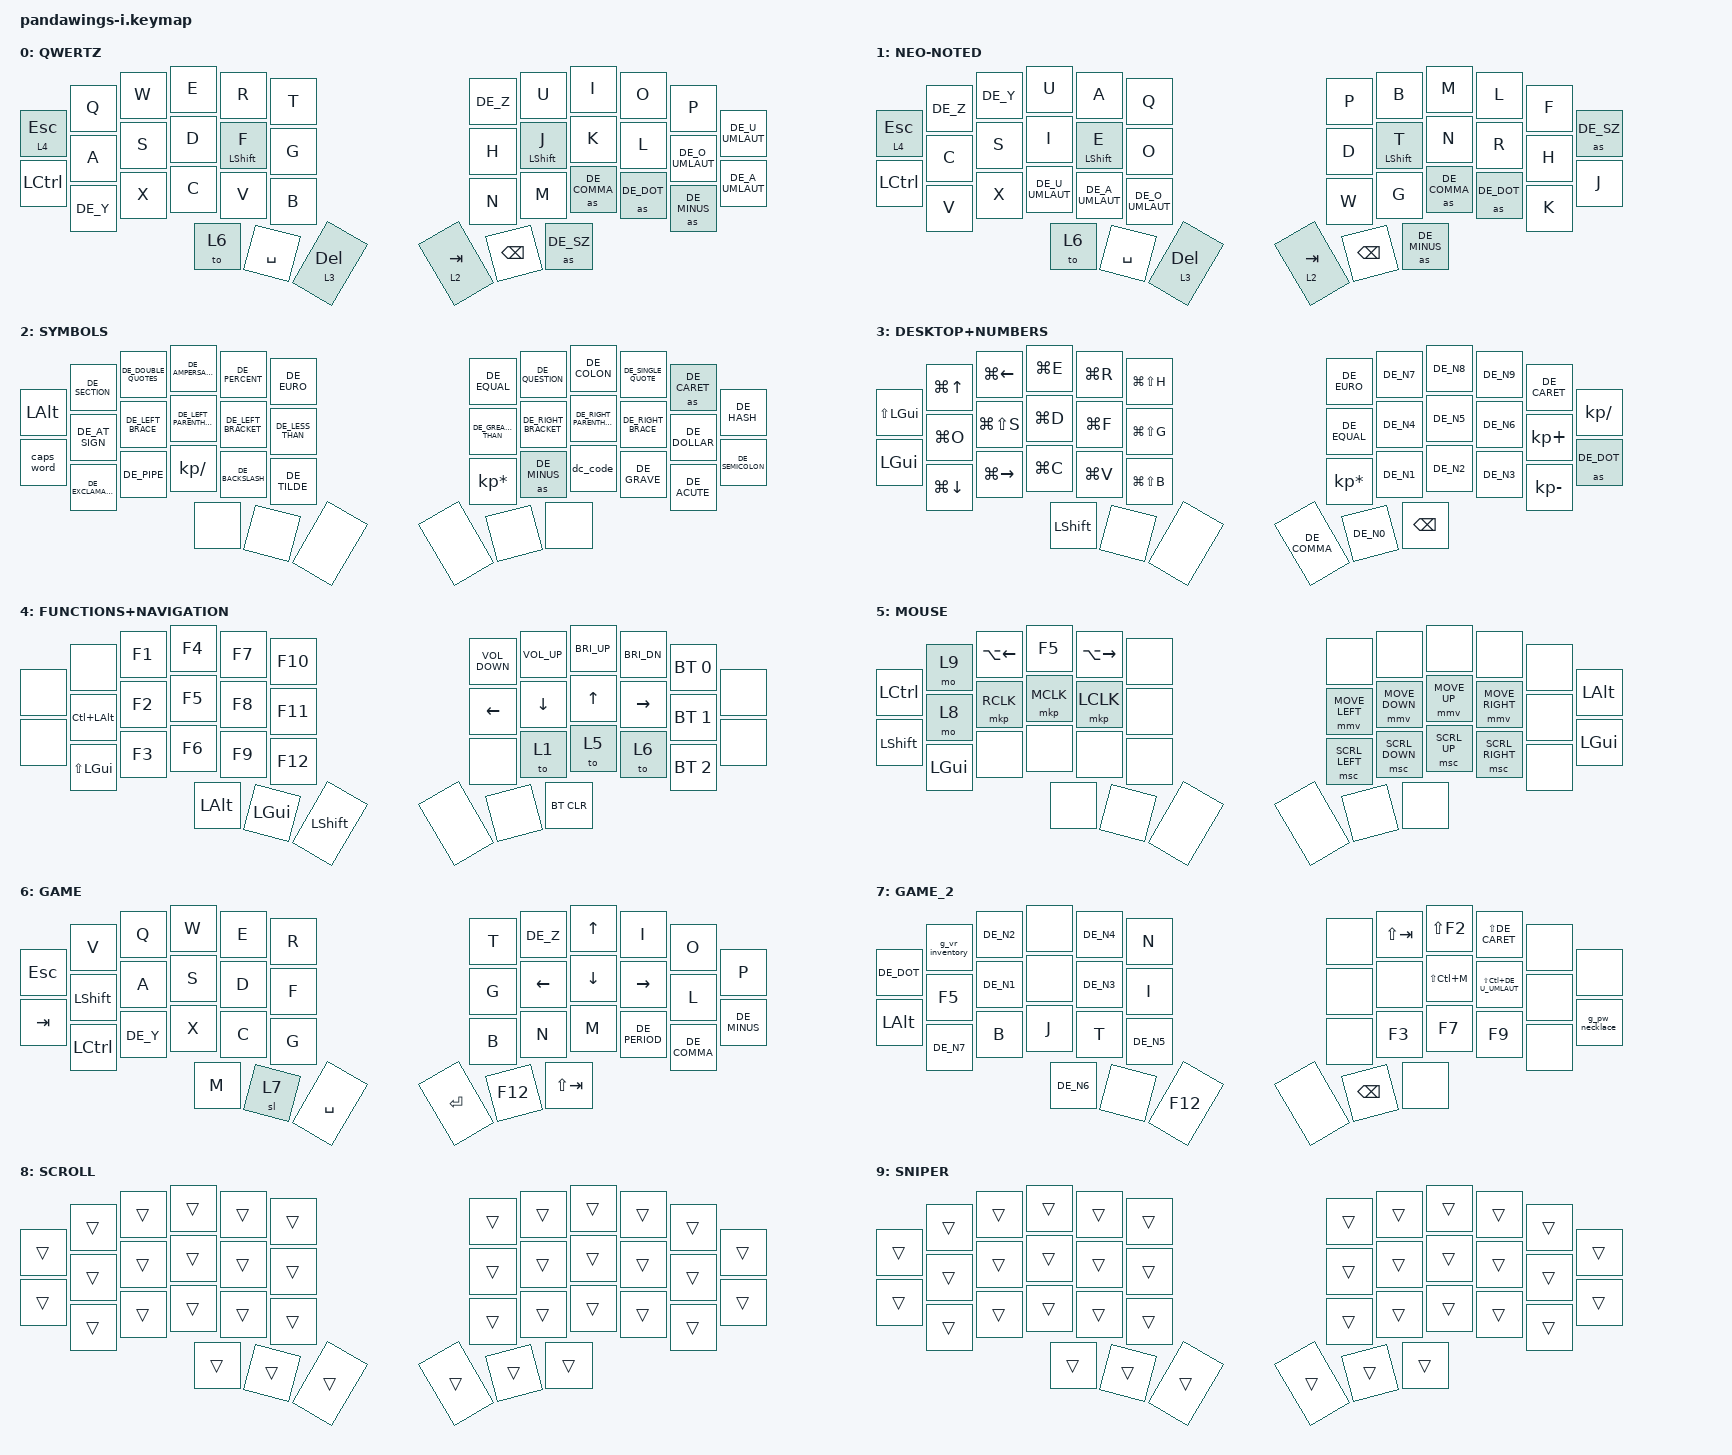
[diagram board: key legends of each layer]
#include <behaviors.dtsi>
#include <dt-bindings/zmk/bt.h>
#include <dt-bindings/zmk/keys.h>
#include <dt-bindings/zmk/pointing.h>
#include <locale/keys_de.h>

// https://github.com/urob/zmk-config#timeless-homerow-mods

#define PRIOR_IDLE 100   // 125
#define QUICK_TAP_MS 175 // 200
#define TAPPING_TERM 200 // 225
#define HRM_TAP_TERM 275

&caps_word { continue-list = <DELETE DEL BACKSPACE MINUS KP_MINUS SLASH QUESTION SEMICOLON LEFT_BRACKET RIGHT_BRACKET LEFT_BRACE RIGHT_BRACE SINGLE_QUOTE DE_A_UMLAUT DE_O_UMLAUT DE_U_UMLAUT>; };

// &lt &mt from https://github.com/urob/zmk-config/blob/main/config/base.keymap
// hold-preferred, balanced, tap-preferred, tap-unless-interrupted

&lt { flavor = "hold-preferred"; };

&sk {
    quick-release;
    lazy;
};

/ {
    behaviors {
        ht_as: autoshift_hold_tap {
            compatible = "zmk,behavior-hold-tap";
            #binding-cells = <2>;
            tapping-term-ms = <QUICK_TAP_MS>;
            bindings = <&shifted>, <&kp>;
        };

        hm: homerow_mods {
            compatible = "zmk,behavior-hold-tap";
            #binding-cells = <2>;
            flavor = "tap-unless-interrupted";
            tapping-term-ms = <300>;
            quick-tap-ms = <200>;
            bindings = <&kp>, <&kp>;

            require-prior-idle-ms = <50>;
        };
    };

    combos {
        compatible = "zmk,combos";

        to_base_layer {
            bindings = <&to 0>;
            key-positions = <35 36>;
        };

        select_all {
            bindings = <&kp LC(A)>;
            key-positions = <23 24>;
            layers = <0 1>;
        };

        copy {
            bindings = <&kp LC(C)>;
            key-positions = <24 25>;
            layers = <0 1>;
        };

        paste {
            bindings = <&kp LC(V)>;
            key-positions = <25 26>;
            layers = <0 1>;
        };

        cut {
            bindings = <&kp LC(X)>;
            key-positions = <26 27>;
            layers = <0 1>;
        };

        line_start {
            bindings = <&kp HOME>;
            key-positions = <12 13 14>;
            layers = <0 1>;
        };

        line_end {
            bindings = <&kp END>;
            key-positions = <17 18 19>;
            layers = <0 1>;
        };

        return {
            bindings = <&kp RETURN>;
            key-positions = <36 37>;
            layers = <0 1>;
        };

        shift_return {
            bindings = <&kp LS(RETURN)>;
            key-positions = <10 22>;
            layers = <0 1>;
        };

        vim_save {
            bindings = <&vimsave>;
            key-positions = <30 31>;
            layers = <0 1>;
        };

        vim_quit {
            bindings = <&vimquit>;
            key-positions = <28 29>;
            layers = <0 1>;
        };

        controller_reset {
            bindings = <&bootloader>;
            key-positions = <0 1 2 3>;
            layers = <0 1>;
        };

        arrow_up {
            bindings = <&kp UP_ARROW>;
            key-positions = <29 30>;
            layers = <0 1>;
        };

        arrow_down {
            bindings = <&kp DOWN_ARROW>;
            key-positions = <31 32>;
            layers = <0 1>;
        };
    };

    macros {
        g_vr_inventory: g_vr_inventory {
            compatible = "zmk,behavior-macro";
            #binding-cells = <0>;
            wait-ms = <50>;
            tap-ms = <50>;
            bindings =
                <&kp R &mkp RCLK &kp E &kp R &mkp RCLK &kp E &kp R &mkp RCLK &kp E &kp R &mkp RCLK &kp E &kp R &mkp RCLK &kp E &kp R &mkp RCLK &kp E &kp R &mkp RCLK &kp E &kp R &mkp RCLK &kp E &kp R &mkp RCLK &kp E &kp R &mkp RCLK &kp E>;
        };

        g_pw_necklace: g_pw_necklace {
            compatible = "zmk,behavior-macro";
            #binding-cells = <0>;
            wait-ms = <250>;
            tap-ms = <100>;
            bindings =
                <&kp DE_N3 &kp E &kp DE_N3 &kp E &kp DE_N3 &kp E &kp DE_N3 &kp E &kp DE_N3 &kp E &kp DE_N3 &kp E &kp D &kp W>;
        };

        shifted: macro_shifted_kp {
            #binding-cells = <1>;
            compatible = "zmk,behavior-macro-one-param";
            bindings =
                <&macro_press>,
                <&kp LSHFT &macro_param_1to1>,
                <&macro_tap>,
                <&kp MACRO_PLACEHOLDER>,
                <&macro_release>,
                <&kp LEFT_SHIFT>;
        };

        as: autoshift {
            compatible = "zmk,behavior-macro-one-param";
            #binding-cells = <1>;
            bindings =
                <&macro_press>,
                <&macro_param_1to1 &macro_param_1to2 &ht_as MACRO_PLACEHOLDER MACRO_PLACEHOLDER>,
                <&macro_pause_for_release>,
                <&macro_release>,
                <&macro_param_1to1 &macro_param_1to2 &ht_as MACRO_PLACEHOLDER MACRO_PLACEHOLDER>;
        };

        dc_code: discord_codesegment {
            compatible = "zmk,behavior-macro";
            #binding-cells = <0>;
            bindings = <&kp DE_GRAVE &kp DE_GRAVE>;
        };

        vimsave: vimsave {
            compatible = "zmk,behavior-macro";
            #binding-cells = <0>;
            bindings = <&kp DE_COLON &kp W &kp A &kp RETURN>;
        };

        vimquit: vimquit {
            compatible = "zmk,behavior-macro";
            #binding-cells = <0>;
            bindings = <&kp DE_COLON &kp Q &kp A &kp RETURN>;
        };
    };

    keymap {
        compatible = "zmk,keymap";

//                    | SW2  | SW3  | SW4  | SW5  | SW6  |  | SW27 | SW26 | SW25 | SW24 | SW23 | 
//             | SW7  | SW8  | SW9  | SW10 | SW11 | SW12 |  | SW33 | SW32 | SW31 | SW30 | SW29 | SW34 |
//             | SW13 | SW14 | SW15 | SW16 | SW17 | SW18 |  | SW39 | SW38 | SW37 | SW36 | SW35 | SW28 |
//                                  | SW19 | SW20 | SW21 |  | SW42 | SW41 | SW40 |

        QWERTZ {

            bindings = <
//                   ┌──────┬───┬───┬────────────┬─────┐                         ┌──────┬────────────┬──────────┬──────────┬───────────────┐
//                   │  Q   │ W │ E │     R      │  T  │                         │ DE_Z │     U      │    I     │    O     │       P       │
//    ┌──────────────┼──────┼───┼───┼────────────┼─────┤                         ├──────┼────────────┼──────────┼──────────┼───────────────┼───────────────┐
//    │   lt 4 esc   │  A   │ S │ D │ &hm lsft F │  G  │                         │  H   │ &hm lsft J │    K     │    L     │ DE_O_UMlaltUT │ DE_U_UMlaltUT │
//    ├──────────────┼──────┼───┼───┼────────────┼─────┤                         ├──────┼────────────┼──────────┼──────────┼───────────────┼───────────────┤
//    │ left_CONTROL │ DE_Y │ X │ C │     V      │  B  │                         │  N   │     M      │ &as DE_, │ &as DE_. │   &as DE_-    │ DE_A_UMlaltUT │
//    └──────────────┴──────┴───┴───┼────────────┼─────┼──────────┐   ┌──────────┼──────┼────────────┼──────────┴──────────┴───────────────┴───────────────┘
//                                  │    to 6    │ spc │ lt 3 del │   │ lt 2 tab │ bspc │ &as DE_SZ  │
//                                  └────────────┴─────┴──────────┘   └──────────┴──────┴────────────┘
                     &kp Q      &kp W   &kp E   &kp R              &kp T                                      &kp DE_Z        &kp U              &kp I          &kp O        &kp P
  &lt 4 ESCAPE       &kp A      &kp S   &kp D   &hm LEFT_SHIFT F   &kp G                                      &kp H           &hm LEFT_SHIFT J   &kp K          &kp L        &kp DE_O_UMLAUT   &kp DE_U_UMLAUT
  &kp LEFT_CONTROL   &kp DE_Y   &kp X   &kp C   &kp V              &kp B                                      &kp N           &kp M              &as DE_COMMA   &as DE_DOT   &as DE_MINUS      &kp DE_A_UMLAUT
                                                &to 6              &kp SPACE   &lt 3 DELETE       &lt 2 TAB   &kp BACKSPACE   &as DE_SZ
            >;
        };

        NEO-NOTED {
            bindings = <
//                   ┌──────┬──────┬───────────────┬───────────────┬───────────────┐                         ┌──────┬────────────┬──────────┬──────────┬───┐
//                   │ DE_Z │ DE_Y │       U       │       A       │       Q       │                         │  P   │     B      │    M     │    L     │ F │
//    ┌──────────────┼──────┼──────┼───────────────┼───────────────┼───────────────┤                         ├──────┼────────────┼──────────┼──────────┼───┼───────────┐
//    │   lt 4 esc   │  C   │  S   │       I       │  &hm lsft E   │       O       │                         │  D   │ &hm lsft T │    N     │    R     │ H │ &as DE_SZ │
//    ├──────────────┼──────┼──────┼───────────────┼───────────────┼───────────────┤                         ├──────┼────────────┼──────────┼──────────┼───┼───────────┤
//    │ left_CONTROL │  V   │  X   │ DE_U_UMlaltUT │ DE_A_UMlaltUT │ DE_O_UMlaltUT │                         │  W   │     G      │ &as DE_, │ &as DE_. │ K │     J     │
//    └──────────────┴──────┴──────┴───────────────┼───────────────┼───────────────┼──────────┐   ┌──────────┼──────┼────────────┼──────────┴──────────┴───┴───────────┘
//                                                 │     to 6      │      spc      │ lt 3 del │   │ lt 2 tab │ bspc │  &as DE_-  │
//                                                 └───────────────┴───────────────┴──────────┘   └──────────┴──────┴────────────┘
                     &kp DE_Z   &kp DE_Y   &kp U             &kp A              &kp Q                                            &kp P           &kp B              &kp M          &kp L        &kp F
  &lt 4 ESCAPE       &kp C      &kp S      &kp I             &hm LEFT_SHIFT E   &kp O                                            &kp D           &hm LEFT_SHIFT T   &kp N          &kp R        &kp H   &as DE_SZ
  &kp LEFT_CONTROL   &kp V      &kp X      &kp DE_U_UMLAUT   &kp DE_A_UMLAUT    &kp DE_O_UMLAUT                                  &kp W           &kp G              &as DE_COMMA   &as DE_DOT   &kp K   &kp J
                                                             &to 6              &kp SPACE         &lt 3 DELETE       &lt 2 TAB   &kp BACKSPACE   &as DE_MINUS
            >;
        };

        SYMBOLS {
            bindings = <
//            ┌────────────┬──────┬──────┬──────┬─────────┐               ┌──────┬──────────┬──────────┬──────┬──────────┐
//            │ DE_SECTION │ DE_" │ DE_& │ DE_% │ DE_EURO │               │ DE_= │   DE_?   │   DE_:   │ DE_' │ &as DE_^ │
//    ┌───────┼────────────┼──────┼──────┼──────┼─────────┤               ├──────┼──────────┼──────────┼──────┼──────────┼──────┐
//    │ lalt  │    DE_@    │ DE_{ │ DE_( │ DE_[ │  DE_<   │               │ DE_> │   DE_]   │   DE_)   │ DE_} │   DE_$   │ DE_# │
//    ├───────┼────────────┼──────┼──────┼──────┼─────────┤               ├──────┼──────────┼──────────┼──────┼──────────┼──────┤
//    │ capsw │    DE_!    │ DE_| │ kp_/ │ DE_\ │  DE_~   │               │ kp_* │ &as DE_- │ &dc_code │ DE_` │ DE_ACUTE │ DE_; │
//    └───────┴────────────┴──────┴──────┼──────┼─────────┼─────┐   ┌─────┼──────┼──────────┼──────────┴──────┴──────────┴──────┘
//                                       │      │         │     │   │     │      │          │
//                                       └──────┴─────────┴─────┘   └─────┴──────┴──────────┘
                 &kp DE_SECTION       &kp DE_DOUBLE_QUOTES   &kp DE_AMPERSAND          &kp DE_PERCENT        &kp DE_EURO                            &kp DE_EQUAL          &kp DE_QUESTION        &kp DE_COLON               &kp DE_SINGLE_QUOTE   &as DE_CARET
  &kp LEFT_ALT   &kp DE_AT_SIGN       &kp DE_LEFT_BRACE      &kp DE_LEFT_PARENTHESIS   &kp DE_LEFT_BRACKET   &kp DE_LESS_THAN                       &kp DE_GREATER_THAN   &kp DE_RIGHT_BRACKET   &kp DE_RIGHT_PARENTHESIS   &kp DE_RIGHT_BRACE    &kp DE_DOLLAR   &kp DE_HASH
  &caps_word     &kp DE_EXCLAMATION   &kp DE_PIPE            &kp KP_SLASH              &kp DE_BACKSLASH      &kp DE_TILDE                           &kp KP_ASTERISK       &as DE_MINUS           &dc_code                   &kp DE_GRAVE          &kp DE_ACUTE    &kp DE_SEMICOLON
                                                                                       &none                 &none              &none       &none   &none                 &none
            >;
        };

        DESKTOP+NUMBERS {
            bindings = <
//                 ┌────────────┬───────────────┬─────────┬─────────┬───────────────┐                ┌─────────┬──────┬──────┬──────┬──────┐
//                 │  lgui(up)  │  lgui(left)   │ lgui(E) │ lgui(R) │ lgui(lsft(H)) │                │ DE_EURO │ DE_7 │ DE_8 │ DE_9 │ DE_^ │
//    ┌────────────┼────────────┼───────────────┼─────────┼─────────┼───────────────┤                ├─────────┼──────┼──────┼──────┼──────┼──────────┐
//    │ lsft(lgui) │  lgui(O)   │ lgui(lsft(S)) │ lgui(D) │ lgui(F) │ lgui(lsft(G)) │                │  DE_=   │ DE_4 │ DE_5 │ DE_6 │ kp_+ │   kp_/   │
//    ├────────────┼────────────┼───────────────┼─────────┼─────────┼───────────────┤                ├─────────┼──────┼──────┼──────┼──────┼──────────┤
//    │    lgui    │ lgui(down) │  lgui(rght)   │ lgui(C) │ lgui(V) │ lgui(lsft(B)) │                │  kp_*   │ DE_1 │ DE_2 │ DE_3 │ kp_- │ &as DE_. │
//    └────────────┴────────────┴───────────────┴─────────┼─────────┼───────────────┼─────┐   ┌──────┼─────────┼──────┼──────┴──────┴──────┴──────────┘
//                                                        │  lsft   │               │     │   │ DE_, │  DE_0   │ bspc │
//                                                        └─────────┴───────────────┴─────┘   └──────┴─────────┴──────┘
                     &kp LG(UP_ARROW)     &kp LG(LEFT_ARROW)    &kp LG(E)   &kp LG(R)        &kp LG(LS(H))                              &kp DE_EURO       &kp DE_N7       &kp DE_N8   &kp DE_N9   &kp DE_CARET
  &kp LS(LEFT_GUI)   &kp LG(O)            &kp LG(LS(S))         &kp LG(D)   &kp LG(F)        &kp LG(LS(G))                              &kp DE_EQUAL      &kp DE_N4       &kp DE_N5   &kp DE_N6   &kp KP_PLUS    &kp KP_SLASH
  &kp LEFT_GUI       &kp LG(DOWN_ARROW)   &kp LG(RIGHT_ARROW)   &kp LG(C)   &kp LG(V)        &kp LG(LS(B))                              &kp KP_ASTERISK   &kp DE_N1       &kp DE_N2   &kp DE_N3   &kp KP_MINUS   &as DE_DOT
                                                                            &kp LEFT_SHIFT   &none           &none       &kp DE_COMMA   &kp DE_N0         &kp BACKSPACE
            >;
        };

        FUNCTIONS+NAVIGATION {
            bindings = <
//          ┌────────────┬────┬────┬──────┬──────┐                ┌──────┬────────┬──────┬──────┬──────────┐
//          │            │ f1 │ f4 │  f7  │ f10  │                │ vold │  volu  │ bri+ │ bri- │ bt_sel 0 │
//    ┌─────┼────────────┼────┼────┼──────┼──────┤                ├──────┼────────┼──────┼──────┼──────────┼─────┐
//    │     │ lctl(lalt) │ f2 │ f5 │  f8  │ f11  │                │ left │  down  │  up  │ rght │ bt_sel 1 │     │
//    ├─────┼────────────┼────┼────┼──────┼──────┤                ├──────┼────────┼──────┼──────┼──────────┼─────┤
//    │     │ lsft(lgui) │ f3 │ f6 │  f9  │ f12  │                │      │  to 1  │ to 5 │ to 6 │ bt_sel 2 │     │
//    └─────┴────────────┴────┴────┼──────┼──────┼──────┐   ┌─────┼──────┼────────┼──────┴──────┴──────────┴─────┘
//                                 │ lalt │ lgui │ lsft │   │     │      │ bt_clr │
//                                 └──────┴──────┴──────┘   └─────┴──────┴────────┘
          &none              &kp F1   &kp F4   &kp F7         &kp F10                            &kp C_VOLUME_DOWN   &kp C_VOLUME_UP   &kp C_BRI_UP   &kp C_BRI_DN      &bt BT_SEL 0
  &none   &kp LC(LEFT_ALT)   &kp F2   &kp F5   &kp F8         &kp F11                            &kp LEFT_ARROW      &kp DOWN_ARROW    &kp UP_ARROW   &kp RIGHT_ARROW   &bt BT_SEL 1   &none
  &none   &kp LS(LEFT_GUI)   &kp F3   &kp F6   &kp F9         &kp F12                            &none               &to 1             &to 5          &to 6             &bt BT_SEL 2   &none
                                               &kp LEFT_ALT   &kp LGUI   &kp LSHFT       &none   &none               &bt BT_CLR
            >;
        };

        MOUSE {
            bindings = <
//           ┌──────┬────────────┬──────┬────────────┬─────┐               ┌────────────────┬────────────────┬──────────────┬────────────────┬─────┐
//           │ mo 9 │ lalt(left) │  f5  │ lalt(rght) │     │               │                │                │              │                │     │
//    ┌──────┼──────┼────────────┼──────┼────────────┼─────┤               ├────────────────┼────────────────┼──────────────┼────────────────┼─────┼──────┐
//    │ lctl │ mo 8 │    rclk    │ mclk │    lclk    │     │               │ &mmv MOVE_left │ &mmv MOVE_down │ &mmv MOVE_up │ &mmv MOVE_rght │     │ lalt │
//    ├──────┼──────┼────────────┼──────┼────────────┼─────┤               ├────────────────┼────────────────┼──────────────┼────────────────┼─────┼──────┤
//    │ lsft │ lgui │            │      │            │     │               │ &msc SCRL_left │ &msc SCRL_down │ &msc SCRL_up │ &msc SCRL_rght │     │ lgui │
//    └──────┴──────┴────────────┴──────┼────────────┼─────┼─────┐   ┌─────┼────────────────┼────────────────┼──────────────┴────────────────┴─────┴──────┘
//                                      │            │     │     │   │     │                │                │
//                                      └────────────┴─────┴─────┘   └─────┴────────────────┴────────────────┘
              &mo 9      &kp LA(LEFT_ARROW)   &kp F5      &kp LA(RIGHT_ARROW)   &none                       &none            &none            &none          &none             &none
  &kp LCTRL   &mo 8      &mkp RCLK            &mkp MCLK   &mkp LCLK             &none                       &mmv MOVE_LEFT   &mmv MOVE_DOWN   &mmv MOVE_UP   &mmv MOVE_RIGHT   &none   &kp LEFT_ALT
  &kp LSHFT   &kp LGUI   &none                &none       &none                 &none                       &msc SCRL_LEFT   &msc SCRL_DOWN   &msc SCRL_UP   &msc SCRL_RIGHT   &none   &kp LGUI
                                                          &none                 &none   &none       &none   &none            &none
            >;
        };

        GAME {
            bindings = <
//          ┌──────┬──────┬───┬───┬──────┐               ┌─────┬───────────┬──────┬──────┬──────┐
//          │  V   │  Q   │ W │ E │  R   │               │  T  │   DE_Z    │  up  │  I   │  O   │
//    ┌─────┼──────┼──────┼───┼───┼──────┤               ├─────┼───────────┼──────┼──────┼──────┼──────┐
//    │ esc │ lsft │  A   │ S │ D │  F   │               │  G  │   left    │ down │ rght │  L   │  P   │
//    ├─────┼──────┼──────┼───┼───┼──────┤               ├─────┼───────────┼──────┼──────┼──────┼──────┤
//    │ tab │ lctl │ DE_Y │ X │ C │  G   │               │  B  │     N     │  M   │ DE_. │ DE_, │ DE_- │
//    └─────┴──────┴──────┴───┼───┼──────┼─────┐   ┌─────┼─────┼───────────┼──────┴──────┴──────┴──────┘
//                            │ M │ sl 7 │ spc │   │ ent │ f12 │ lsft(tab) │
//                            └───┴──────┴─────┘   └─────┴─────┴───────────┘
               &kp V            &kp Q      &kp W   &kp E   &kp R                                &kp T     &kp DE_Z      &kp UP           &kp I           &kp O
  &kp ESCAPE   &kp LEFT_SHIFT   &kp A      &kp S   &kp D   &kp F                                &kp G     &kp LEFT      &kp DOWN_ARROW   &kp RIGHT       &kp L          &kp P
  &kp TAB      &kp LCTRL        &kp DE_Y   &kp X   &kp C   &kp G                                &kp B     &kp N         &kp M            &kp DE_PERIOD   &kp DE_COMMA   &kp DE_MINUS
                                                   &kp M   &sl 7   &kp SPACE       &kp RETURN   &kp F12   &kp LS(TAB)
            >;
        };

        GAME_2 {
            bindings = <
//           ┌─────────────────┬──────┬─────┬──────┬──────┐               ┌──────┬───────────┬───────────────┬───────────────────────────┬─────┐
//           │ &g_vr_inventory │ DE_2 │     │ DE_4 │  N   │               │      │ lsft(tab) │   lsft(f2)    │        lsft(DE_^)         │     │
//    ┌──────┼─────────────────┼──────┼─────┼──────┼──────┤               ├──────┼───────────┼───────────────┼───────────────────────────┼─────┼────────────────┐
//    │ DE_. │       f5        │ DE_1 │     │ DE_3 │  I   │               │      │           │ lsft(lctl(M)) │ lsft(lctl(DE_U_UMlaltUT)) │     │                │
//    ├──────┼─────────────────┼──────┼─────┼──────┼──────┤               ├──────┼───────────┼───────────────┼───────────────────────────┼─────┼────────────────┤
//    │ lalt │      DE_7       │  B   │  J  │  T   │ DE_5 │               │      │    f3     │      f7       │            f9             │     │ &g_pw_necklace │
//    └──────┴─────────────────┴──────┴─────┼──────┼──────┼─────┐   ┌─────┼──────┼───────────┼───────────────┴───────────────────────────┴─────┴────────────────┘
//                                          │ DE_6 │      │ f12 │   │     │ bspc │           │
//                                          └──────┴──────┴─────┘   └─────┴──────┴───────────┘
                 &g_vr_inventory   &kp DE_N2   &none   &kp DE_N4   &kp N                             &none           &kp LS(TAB)   &kp LS(F2)      &kp LS(DE_CARET)          &none
  &kp DE_DOT     &kp F5            &kp DE_N1   &none   &kp DE_N3   &kp I                             &none           &none         &kp LS(LC(M))   &kp LS(LC(DE_U_UMLAUT))   &none   &none
  &kp LEFT_ALT   &kp DE_N7         &kp B       &kp J   &kp T       &kp DE_N5                         &none           &kp F3        &kp F7          &kp F9                    &none   &g_pw_necklace
                                                       &kp DE_N6   &none       &kp F12       &none   &kp BACKSPACE   &none
            >;
        };

        SCROLL {
            bindings = <
//          ┌─────┬─────┬─────┬─────┬─────┐               ┌─────┬─────┬─────┬─────┬─────┐
//          │     │     │     │     │     │               │     │     │     │     │     │
//    ┌─────┼─────┼─────┼─────┼─────┼─────┤               ├─────┼─────┼─────┼─────┼─────┼─────┐
//    │     │     │     │     │     │     │               │     │     │     │     │     │     │
//    ├─────┼─────┼─────┼─────┼─────┼─────┤               ├─────┼─────┼─────┼─────┼─────┼─────┤
//    │     │     │     │     │     │     │               │     │     │     │     │     │     │
//    └─────┴─────┴─────┴─────┼─────┼─────┼─────┐   ┌─────┼─────┼─────┼─────┴─────┴─────┴─────┘
//                            │     │     │     │   │     │     │     │
//                            └─────┴─────┴─────┘   └─────┴─────┴─────┘
           &trans   &trans   &trans   &trans   &trans                         &trans   &trans   &trans   &trans   &trans
  &trans   &trans   &trans   &trans   &trans   &trans                         &trans   &trans   &trans   &trans   &trans   &trans
  &trans   &trans   &trans   &trans   &trans   &trans                         &trans   &trans   &trans   &trans   &trans   &trans
                                      &trans   &trans   &trans       &trans   &trans   &trans
            >;
        };

        SNIPER {
            bindings = <
//          ┌─────┬─────┬─────┬─────┬─────┐               ┌─────┬─────┬─────┬─────┬─────┐
//          │     │     │     │     │     │               │     │     │     │     │     │
//    ┌─────┼─────┼─────┼─────┼─────┼─────┤               ├─────┼─────┼─────┼─────┼─────┼─────┐
//    │     │     │     │     │     │     │               │     │     │     │     │     │     │
//    ├─────┼─────┼─────┼─────┼─────┼─────┤               ├─────┼─────┼─────┼─────┼─────┼─────┤
//    │     │     │     │     │     │     │               │     │     │     │     │     │     │
//    └─────┴─────┴─────┴─────┼─────┼─────┼─────┐   ┌─────┼─────┼─────┼─────┴─────┴─────┴─────┘
//                            │     │     │     │   │     │     │     │
//                            └─────┴─────┴─────┘   └─────┴─────┴─────┘
           &trans   &trans   &trans   &trans   &trans                         &trans   &trans   &trans   &trans   &trans
  &trans   &trans   &trans   &trans   &trans   &trans                         &trans   &trans   &trans   &trans   &trans   &trans
  &trans   &trans   &trans   &trans   &trans   &trans                         &trans   &trans   &trans   &trans   &trans   &trans
                                      &trans   &trans   &trans       &trans   &trans   &trans
            >;
        };
    };
};
